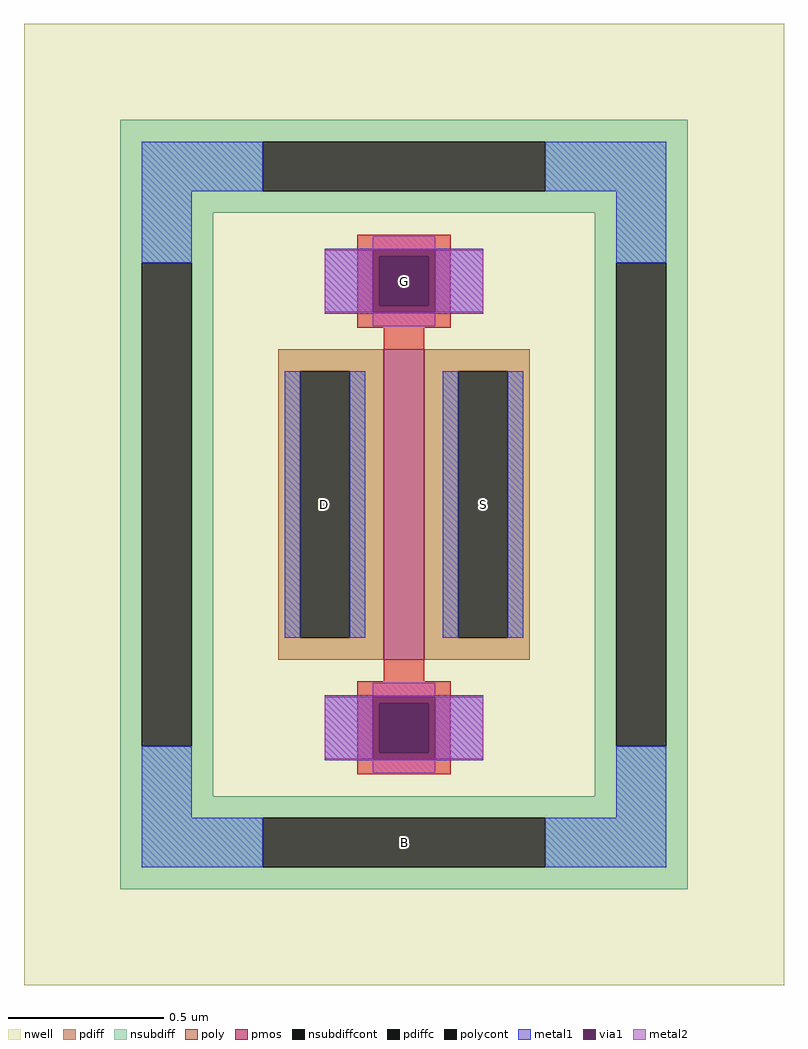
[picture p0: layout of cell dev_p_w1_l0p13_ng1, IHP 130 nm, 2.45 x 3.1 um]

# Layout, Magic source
magic
tech ihp-sg13cmos5l
magscale 1 2
<< nwell >>
rect -245 -310 245 310
<< pmos >>
rect -13 -100 13 100
<< pdiff >>
rect -81 86 -13 100
rect -81 -86 -67 86
rect -35 -86 -13 86
rect -81 -100 -13 -86
rect 13 86 81 100
rect 13 -86 35 86
rect 67 -86 81 86
rect 13 -100 81 -86
<< pdiffc >>
rect -67 -86 -35 86
rect 35 -86 67 86
<< nsubdiff >>
rect -183 234 183 248
rect -183 202 -91 234
rect 91 202 183 234
rect -183 188 183 202
rect -183 156 -123 188
rect -183 -156 -169 156
rect -137 -156 -123 156
rect 123 156 183 188
rect -183 -188 -123 -156
rect 123 -156 137 156
rect 169 -156 183 156
rect 123 -188 183 -156
rect -183 -202 183 -188
rect -183 -234 -91 -202
rect 91 -234 183 -202
rect -183 -248 183 -234
<< nsubdiffcont >>
rect -91 202 91 234
rect -169 -156 -137 156
rect 137 -156 169 156
rect -91 -234 91 -202
<< poly >>
rect -30 160 30 174
rect -30 128 -16 160
rect 16 128 30 160
rect -30 114 30 128
rect -13 100 13 114
rect -13 -114 13 -100
rect -30 -128 30 -114
rect -30 -160 -16 -128
rect 16 -160 30 -128
rect -30 -174 30 -160
<< polycont >>
rect -16 128 16 160
rect -16 -160 16 -128
<< metal1 >>
rect -169 202 -91 234
rect 91 202 169 234
rect -169 156 -137 202
rect -51 164 51 165
rect -51 124 -20 164
rect 20 124 51 164
rect -51 123 51 124
rect 137 156 169 202
rect -77 -86 -67 86
rect -35 -86 -25 86
rect 25 -86 35 86
rect 67 -86 77 86
rect -169 -202 -137 -156
rect -51 -124 51 -123
rect -51 -164 -20 -124
rect 20 -164 51 -124
rect -51 -165 51 -164
rect 137 -202 169 -156
rect -169 -234 -91 -202
rect 91 -234 169 -202
<< via1 >>
rect -20 160 20 164
rect -20 128 -16 160
rect -16 128 16 160
rect 16 128 20 160
rect -20 124 20 128
rect -20 -128 20 -124
rect -20 -160 -16 -128
rect -16 -160 16 -128
rect 16 -160 20 -128
rect -20 -164 20 -160
<< metal2 >>
rect -20 164 20 173
rect -51 124 -20 164
rect 20 124 51 164
rect -20 115 20 124
rect -20 -124 20 -115
rect -51 -164 -20 -124
rect 20 -164 51 -124
rect -20 -173 20 -164
<< labels >>
rlabel nsubdiffcont 0 -218 0 -218 0 B
port 1 nsew
rlabel pdiffc -51 0 -51 0 0 D
port 2 nsew
rlabel pdiffc 51 0 51 0 0 S
port 3 nsew
rlabel polycont 0 144 0 144 0 G
port 4 nsew
<< properties >>
string FIXED_BBOX -153 -218 153 218
string gencell sg13_lv_pmos
string library sg13cmos5l
string parameters w 1 l 0.13 m 1 ng 1 diffcov 100 polycov 100 guard 1 glc 1 grc 1 gtc 1 gbc 1 tbcov 100 rlcov 100 topc 1 botc 1 poverlap 0 doverlap 1 lmin 0.13 wmin 0.15 class mosfet compatible {sg13_lv_pmos sg13_hv_pmos} full_metal 1 conn_gates 1 gate_ring 0 ccols 1 viasrc 0 viadrn 0 viagate 100 viagb 0 viagr 0 viagl 0 viagt 0 doports 1
<< end >>
